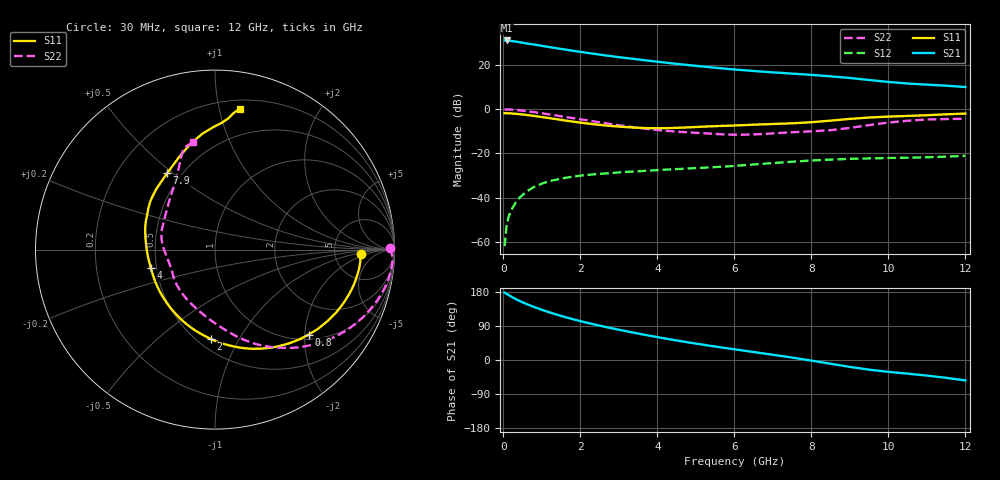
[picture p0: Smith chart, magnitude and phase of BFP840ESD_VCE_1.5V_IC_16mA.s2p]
! Infineon Technologies  Discrete & RF Semiconductors
! BFP840ESD
! VCE =  1.5 V,  IC =  16 mA
! Common Emitter S-Parameters:  May 2012
# GHz  S  MA  R  50
!  f  S11  S21  S12  S22
! GHz  MAG  ANG  MAG  ANG  MAG  ANG  MAG  ANG
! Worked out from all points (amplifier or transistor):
!   93 points, 30 MHz to 12 GHz, reference 50 ohm
!   highest |S21| = 31.1 dB at 80 MHz (marker M1)
!   |S21| within 3 dB of that: start of sweep to 1.195 GHz
!   unconditionally stable (mu >= 1): 5.082 GHz to 8.767 GHz
!   at 1.1 GHz: K = 0.36, MSG = 30.7 dB, |S12| = -33.1 dB
!   at 4.2 GHz: K = 0.91, MSG = 24.2 dB, |S12| = -27.3 dB
!   at 12 GHz: K = 0.75, MSG = 15.6 dB, |S12| = -21.1 dB
!   S11 on the Smith chart (normalised r, x): 30 MHz: 9.58, -1.29; 800 MHz: 1.11, -2.09; 2 GHz: 0.58, -0.77; 4 GHz: 0.46, -0.11; 7.9 GHz: 0.42, +0.48; 12 GHz: 0.27, +1.15
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0.03  0.8141 -1.6  35.92 177.6  0.0008 95.6  0.9757 0.4
0.08  0.8122 -4.6  35.96 174.5  0.0023 87.7  0.9914 -2.6
0.23  0.8003 -13.1  34.8 165.7  0.0058 82.7  0.9786 -10.0
0.38  0.7795 -21.2  33.21 157.7  0.0092 76.0  0.9526 -16.3
0.6  0.7424 -32.5  30.88 147.7  0.0138 70.7  0.9056 -24.7
0.8  0.7046 -42.3  28.99 139.7  0.0175 64.5  0.8585 -31.7
1  0.6665 -51.5  27.13 132.4  0.0209 60.0  0.8102 -38.1
1.3  0.6101 -64.7  24.62 122.4  0.0247 54.3  0.738 -46.8
1.6  0.5574 -77.2  22.43 113.3  0.028 49.2  0.671 -54.7
2  0.4984 -92.8  19.82 102.6  0.0315 44.3  0.5922 -64.2
2.1  0.4851 -96.5  19.27 100.0  0.0322 42.7  0.5748 -66.4
2.6  0.4346 -114.9  16.74 88.4  0.035 38.2  0.4917 -76.9
3  0.405 -129.2  15.08 79.8  0.0373 35.8  0.4357 -85.2
4  0.3726 -164.2  11.88 60.4  0.042 30.9  0.3386 -109.7
4.1  0.3725 -167.5  11.61 58.5  0.0425 30.5  0.3322 -112.5
5  0.3962 168.4  9.58 43.3  0.0468 27.6  0.2927 -134.9
6.1  0.4323 149.7  7.805 26.8  0.0531 25.4  0.2657 -160.4
7.9  0.5034 121.9  6.068 -0.0  0.0684 15.7  0.3141 161.2
8.5  0.5526 111.3  5.557 -9.9  0.0726 11.1  0.3357 145.7
9.5  0.6503 96.1  4.586 -25.5  0.0773 3.0  0.4376 120.3
10.5  0.7062 87.1  3.818 -36.0  0.0801 -3.3  0.5493 110.1
12  0.7969 80.1  3.181 -53.9  0.0885 -10.5  0.609 101.5
